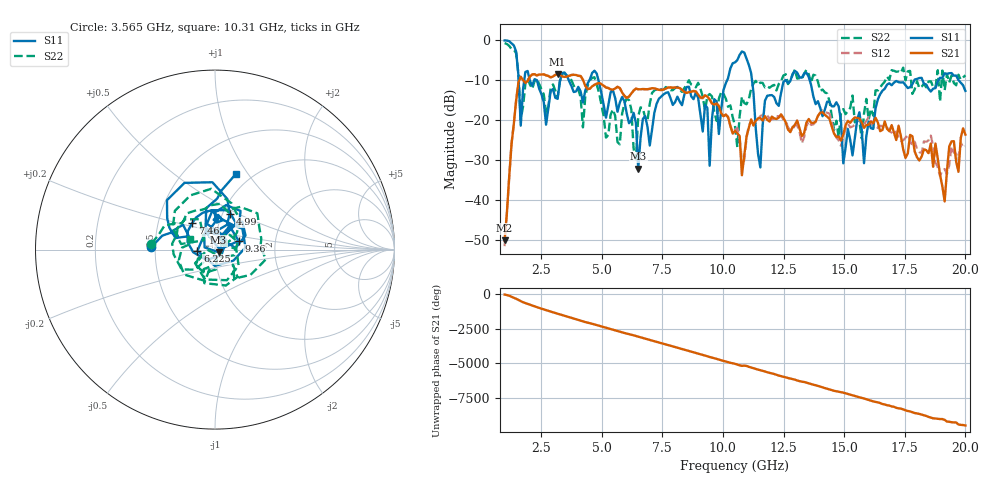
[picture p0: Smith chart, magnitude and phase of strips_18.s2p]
!Agilent Technologies,N5230A,MY45001629,A.07.50.67
!Agilent N5230A: A.07.50.67
!Date: Monday, June 05, 2017 16:33:55
!Correction: S11(Full 2 Port(1,2))
!S21(Full 2 Port(1,2))
!S12(Full 2 Port(1,2))
!S22(Full 2 Port(1,2))
!S2P File: Measurements: S11, S21, S12, S22:
# Hz S  dB  R 50
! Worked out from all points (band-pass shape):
!   201 points, 1 GHz to 20 GHz, reference 50 ohm
!   highest |S21| = -8.62 dB at 3.185 GHz (marker M1); lowest = -50.1 dB at 1 GHz (marker M2)
!   |S21| within 3 dB of the highest: 1.55 GHz to 4.338 GHz (2.788 GHz wide, 94.7 % of centre); 4.623 GHz to 5.107 GHz (484 MHz wide, 9.95 % of centre)
!   lowest |S11| = -32.2 dB at 6.51 GHz (marker M3), VSWR 1.05, Z = 52 - j1.52 ohm
!   |S11| at or under -10 dB: 4.863 GHz to 10.19 GHz (5.323 GHz wide, 70.7 % of centre); 11.2 GHz to 12.8 GHz (1.603 GHz wide, 13.4 % of centre); 13.57 GHz to 17.91 GHz (4.333 GHz wide, 27.5 % of centre)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
!   |S22| runs from -29.9 to -0.9 dB; largest |S21 - S12| = 0.039
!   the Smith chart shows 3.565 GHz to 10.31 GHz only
!   S11 on the Smith chart (normalised r, x): 3.565 GHz: 0.48, +0.01; 4.99 GHz: 1.08, +0.45; 6.225 GHz: 0.82, -0.01; 7.46 GHz: 0.74, +0.23; 9.36 GHz: 1.30, +0.13; 10.31 GHz: 0.84, +0.88
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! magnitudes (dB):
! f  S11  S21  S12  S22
! 1 GHz  -0.2  -50.1  -51.6  -0.9
! 1.57 GHz  -8.9  -10.7  -10.7  -8.6
! 3.185 GHz  -14.8  -8.6  -8.6  -14.4
! 3.565 GHz  -9.0  -9.3  -9.3  -9.0
! 4.23 GHz  -15.7  -10.0  -10.0  -21.9
! 4.99 GHz  -13.4  -11.1  -11.1  -16.3
! 6.225 GHz  -20.2  -13.5  -13.5  -17.4
! 6.51 GHz  -32.2  -12.4  -12.4  -19.1
! 7.365 GHz  -14.7  -12.5  -12.5  -12.8
! 7.46 GHz  -14.2  -12.6  -12.6  -12.4
! 9.36 GHz  -17.1  -14.2  -14.1  -14.1
! 9.455 GHz  -31.5  -14.9  -15.0  -13.6
! 10.31 GHz  -7.2  -21.6  -21.6  -16.4
! 10.5 GHz  -5.7  -22.8  -22.5  -21.5
! 11.16 GHz  -8.4  -19.9  -20.6  -12.3
! 11.54 GHz  -31.9  -19.6  -19.1  -10.7
! 11.83 GHz  -14.0  -20.0  -18.9  -11.6
! 13.73 GHz  -14.2  -20.8  -21.2  -8.8
! 15.82 GHz  -30.9  -22.0  -21.2  -18.4
! 16.86 GHz  -10.9  -22.9  -22.7  -10.0
! 19.14 GHz  -8.4  -40.4  -32.3  -12.6
! 20 GHz  -12.8  -23.7  -26.7  -8.9
